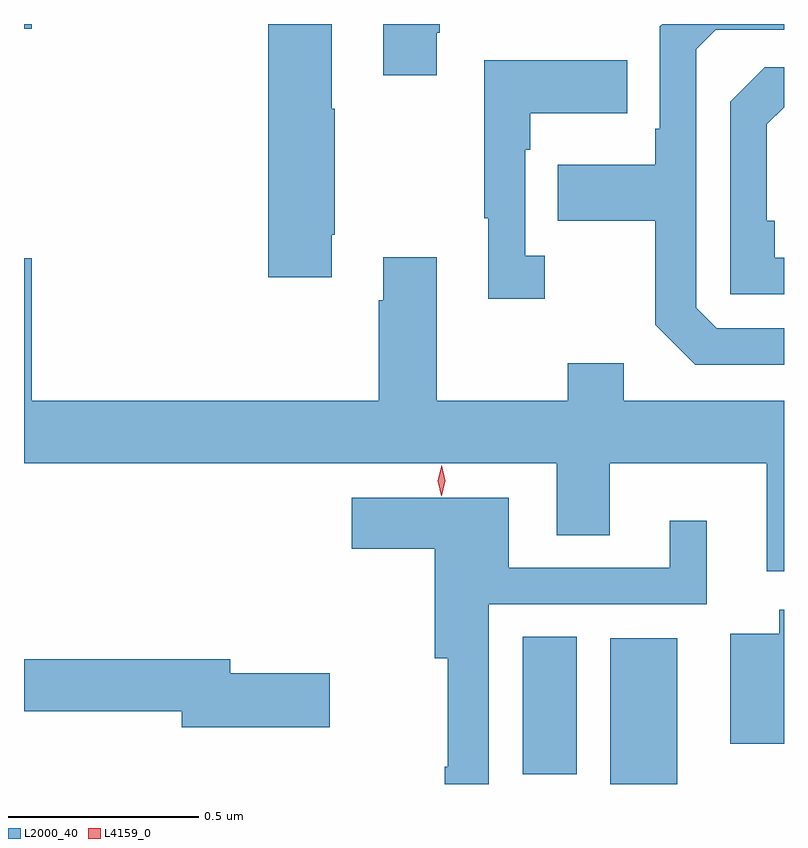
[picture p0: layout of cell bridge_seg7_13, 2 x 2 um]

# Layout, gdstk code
import gdstk
lib = gdstk.Library(unit=1e-6, precision=1e-09)
def R(c, l, rs):  # rectangles x0, y0, x1, y1
    for r in rs: c.add(gdstk.rectangle(r[:2], r[2:], *l))
def P(c, l, *ps):  # polygons
    for p in ps: c.add(gdstk.Polygon(p, *l))
L2000_40 = (2000, 40)
L4159_0 = (4159, 0)

bridge_seg7_13 = lib.new_cell('bridge_seg7_13')
R(bridge_seg7_13, L2000_40, [(1101.758,1078.36,1101.934,1078.744), (1101.527,1078.386,1101.67,1078.748), (1100.215,1080.348,1100.236,1080.36)])
P(bridge_seg7_13, L2000_40, [(1101.301,1080.337),(1101.309,1080.337),(1101.309,1080.36),(1101.161,1080.36),(1101.161,1080.225),(1101.301,1080.225)],
  [(1102.215,1079.559),(1102.038,1079.559),(1101.984,1079.613),(1101.984,1080.294),(1102.035,1080.345),(1102.215,1080.345),(1102.215,1080.36),(1101.894,1080.36),(1101.888,1080.354),(1101.888,1080.085),(1101.876,1080.085),(1101.876,1079.989),(1101.619,1079.989),(1101.619,1079.842),(1101.876,1079.842),(1101.876,1079.569),(1101.981,1079.463),(1102.215,1079.463)],
  [(1101.025,1079.806),(1101.033,1079.806),(1101.033,1080.137),(1101.025,1080.137),(1101.025,1080.36),(1100.858,1080.36),(1100.858,1079.694),(1101.025,1079.694)],
  [(1101.586,1079.75),(1101.534,1079.75),(1101.534,1080.029),(1101.547,1080.029),(1101.547,1080.125),(1101.803,1080.125),(1101.803,1080.265),(1101.426,1080.265),(1101.426,1079.849),(1101.437,1079.849),(1101.437,1079.637),(1101.586,1079.637)],
  [(1102.215,1079.745),(1102.19,1079.745),(1102.19,1079.842),(1102.17,1079.842),(1102.17,1080.096),(1102.215,1080.141),(1102.215,1080.246),(1102.164,1080.246),(1102.074,1080.156),(1102.074,1079.649),(1102.215,1079.649)],
  [(1102.215,1079.368),(1101.793,1079.368),(1101.793,1079.467),(1101.646,1079.467),(1101.646,1079.368),(1101.301,1079.368),(1101.301,1079.746),(1101.161,1079.746),(1101.161,1079.633),(1101.149,1079.633),(1101.149,1079.368),(1100.236,1079.368),(1100.236,1079.743),(1100.215,1079.743),(1100.215,1079.204),(1101.617,1079.204),(1101.617,1079.014),(1101.757,1079.014),(1101.757,1079.204),(1102.169,1079.204),(1102.169,1078.92),(1102.215,1078.92)],
  [(1101.438,1078.833),(1102.012,1078.833),(1102.012,1079.053),(1101.914,1079.053),(1101.914,1078.929),(1101.49,1078.929),(1101.49,1079.113),(1101.078,1079.113),(1101.078,1078.979),(1101.296,1078.979),(1101.296,1078.691),(1101.33,1078.691),(1101.33,1078.405),(1101.322,1078.405),(1101.322,1078.36),(1101.438,1078.36)],
  [(1102.215,1078.819),(1102.202,1078.819),(1102.202,1078.756),(1102.073,1078.756),(1102.073,1078.466),(1102.215,1078.466)],
  [(1101.019,1078.652),(1100.758,1078.652),(1100.758,1078.688),(1100.215,1078.688),(1100.215,1078.552),(1100.63,1078.552),(1100.63,1078.51),(1101.019,1078.51)])
P(bridge_seg7_13, L4159_0, [(1101.313,1079.117),(1101.313,1079.118),(1101.304,1079.158),(1101.314,1079.199),(1101.314,1079.199),(1101.314,1079.199),(1101.324,1079.158),(1101.314,1079.118)])

lib.write_gds('bridge_seg7_13.gds')
